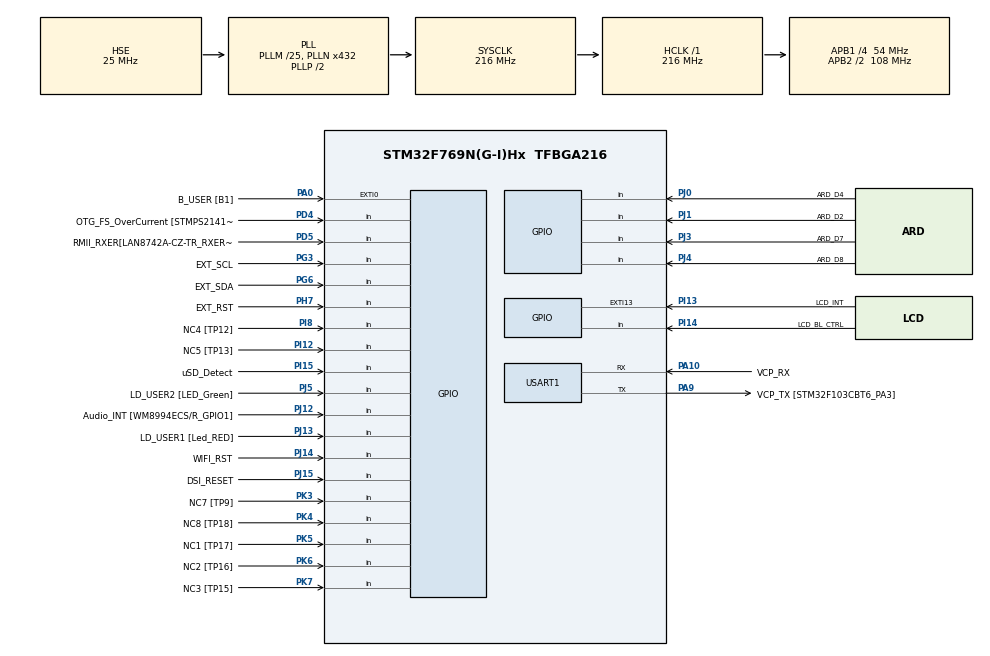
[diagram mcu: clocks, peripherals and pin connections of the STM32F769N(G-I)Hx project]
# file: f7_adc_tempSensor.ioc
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CORTEX_M7.Enable-Cortex_Memory_Protection_Unit_Region0_Settings=MPU_REGION_ENABLE
DSIHOST_CKN.GPIO_Label=DSI_CK_N
DSIHOST_CKN.Signal=DSIHOST_CKN
DSIHOST_CKP.GPIO_Label=DSI_CK_P
DSIHOST_CKP.Signal=DSIHOST_CKP
DSIHOST_D0N.GPIO_Label=DSI_D0_N
DSIHOST_D0N.Signal=DSIHOST_D0N
DSIHOST_D0P.GPIO_Label=DSI_D0_p
DSIHOST_D0P.Signal=DSIHOST_D0P
DSIHOST_D1N.GPIO_Label=DSI_D1_N
DSIHOST_D1N.Signal=DSIHOST_D1N
DSIHOST_D1P.GPIO_Label=DSI_D1_P
DSIHOST_D1P.Signal=DSIHOST_D1P
Mcu.Family=STM32F7
Mcu.Name=STM32F769N(G-I)Hx
Mcu.Package=TFBGA216
NVIC.PriorityGroup=NVIC_PRIORITYGROUP_4
PA0/WKUP.GPIO_Label=B_USER [B1]
PA0/WKUP.Signal=GPXTI0
PA1.GPIO_Label=RMII_REF_CLK [LAN8742A-CZ-TR_REFCLK0]
PA1.Signal=ETH_REF_CLK
PA10.GPIO_Label=VCP_RX 
PA10.Mode=Asynchronous
PA10.Signal=USART1_RX
PA11.GPIO_Label=SPI2_NSS
PA11.Signal=SPI2_NSS
PA12.GPIO_Label=ARD_D13/SCK
PA12.GPIO_Mode=GPIO_MODE_AF_PP
PA12.GPIO_PuPd=GPIO_NOPULL
PA12.GPIO_Speed=GPIO_SPEED_FREQ_LOW
PA12.Signal=SPI2_SCK
PA13.GPIO_Label=SWDIO
PA13.Signal=SYS_JTMS-SWDIO
PA14.GPIO_Label=SWCLK
PA14.Signal=SYS_JTCK-SWCLK
PA15.GPIO_Label=CEC
PA15.Signal=CEC
PA2.GPIO_Label=RMII_MDIO [LAN8742A-CZ-TR_MDIO]
PA2.Signal=ETH_MDIO
PA3.GPIO_Label=ULPI_D0 [USB3320C-EZK_D0]
PA3.Signal=USB_OTG_HS_ULPI_D0
PA4.GPIO_Label=ARD_A1
PA4.Signal=ADCx_IN4
PA5.GPIO_Label=ULPI_CLK [USB3320C-EZK_CLKOUT]
PA5.Signal=USB_OTG_HS_ULPI_CK
PA6.GPIO_Label=ARD_A0
PA6.Signal=ADCx_IN6
PA7.GPIO_Label=RMII_CRS_DV [LAN8742A-CZ-TR_CRS_DV]
PA7.Signal=ETH_CRS_DV
PA8.GPIO_Label=CEC_CLK [TP2]
PA8.Signal=RCC_MCO_1
PA9.GPIO_Label=VCP_TX [STM32F103CBT6_PA3]
PA9.GPIO_Mode=GPIO_MODE_AF_PP
PA9.GPIO_PuPd=GPIO_NOPULL
PA9.GPIO_Speed=GPIO_SPEED_FREQ_LOW
PA9.Mode=Asynchronous
PA9.Signal=USART1_TX
PB0.GPIO_Label=ULPI_D1 [USB3320C-EZK_D1]
PB0.Signal=USB_OTG_HS_ULPI_D1
PB1.GPIO_Label=ULPI_D2 [USB3320C-EZK_D2]
PB1.Signal=USB_OTG_HS_ULPI_D2
PB10.GPIO_Label=ULPI_D3 [USB3320C-EZK_D3]
PB10.Signal=USB_OTG_HS_ULPI_D3
PB11.GPIO_Label=ULPI_D4 [USB3320C-EZK_D4]
PB11.Signal=USB_OTG_HS_ULPI_D4
PB12.GPIO_Label=ULPI_D5 [USB3320C-EZK_D5]
PB12.Signal=USB_OTG_HS_ULPI_D5
PB13.GPIO_Label=ULPI_D6 [USB3320C-EZK_D6]
PB13.Signal=USB_OTG_HS_ULPI_D6
PB14.GPIO_Label=ARDUINO MISO/D12
PB14.GPIO_Mode=GPIO_MODE_AF_PP
PB14.GPIO_PuPd=GPIO_NOPULL
PB14.GPIO_Speed=GPIO_SPEED_FREQ_LOW
PB14.Signal=SPI2_MISO
PB15.GPIO_Label=ARDUINO MOSI/PWM/D11
PB15.GPIO_Mode=GPIO_MODE_AF_PP
PB15.GPIO_PuPd=GPIO_NOPULL
PB15.GPIO_Speed=GPIO_SPEED_FREQ_LOW
PB15.Signal=SPI2_MOSI
PB2.Signal=QUADSPI_CLK
PB3.GPIO_Label=uSD_D2
PB3.Signal=SDMMC2_D2
PB4.GPIO_Label=uSD_D3
PB4.Signal=SDMMC2_D3
PB5.GPIO_Label=ULPI_D7 [USB3320C-EZK_D7]
PB5.Signal=USB_OTG_HS_ULPI_D7
PB6.GPIO_Label=QSPI_NCS [N25Q128A13EF840E_S]
PB6.Signal=QUADSPI_BK1_NCS
PB7.GPIO_Label=AUDIO_SDA [WM8994ECS/R_SDA]
PB7.Signal=I2C4_SDA
PB8.GPIO_Label=ARDUINO SCL/D15
PB8.GPIO_Mode=GPIO_MODE_AF_OD
PB8.GPIO_PuPd=GPIO_NOPULL
PB8.GPIO_Speed=GPIO_SPEED_FREQ_LOW
PB8.Signal=I2C1_SCL
PB9.GPIO_Label=ARDUINO SDA/D14
PB9.GPIO_Mode=GPIO_MODE_AF_OD
PB9.GPIO_PuPd=GPIO_NOPULL
PB9.GPIO_Speed=GPIO_SPEED_FREQ_LOW
PB9.Signal=I2C1_SDA
PC0.GPIO_Label=ULPI_STP [USB3320C-EZK_STP]
PC0.Signal=USB_OTG_HS_ULPI_STP
PC1.GPIO_Label=RMII_MDC [LAN8742A-CZ-TR_MDC]
PC1.Signal=ETH_MDC
PC10.GPIO_Label=QSPI_D1 [MT25QL512ABB1EW9_DQ1]
PC10.Signal=QUADSPI_BK1_IO1
PC11.GPIO_Label=DFSDM_DATIN5 [TP100]
PC11.Signal=S_DATAIN5DFSDM1
PC12.GPIO_Label=WIFI_RX
PC12.Signal=UART5_TX
PC13.Signal=RTC_OUT_ALARM
PC14/OSC32_IN.GPIO_Label=RCC_OSC32_IN
PC14/OSC32_IN.Signal=RCC_OSC32_IN
PC15/OSC32_OUT.GPIO_Label=RCC_OSC32_OUT
PC15/OSC32_OUT.Signal=RCC_OSC32_OUT
PC2.GPIO_Label=ARD_A2
PC2.Signal=ADCx_IN12
PC3.GPIO_Label=DFSDM_DATIN1 [TP101]
PC3.Signal=S_DATAIN1DFSDM1
PC4.GPIO_Label=RMII_RXD0 [LAN8742A-CZ-TR_RXD0]
PC4.Signal=ETH_RXD0
PC5.GPIO_Label=RMII_RXD1 [LAN8742A-CZ-TR_RXD1]
PC5.Signal=ETH_RXD1
PC6.GPIO_Label=ARDUINO TX/D1
PC6.Signal=USART6_TX
PC7.GPIO_Label=ARD_D0/RX
PC7.Signal=USART6_RX
PC8.GPIO_Label=ARD_D5/PWM
PC8.Signal=S_TIM3_CH3
PC9.GPIO_Label=QSPI_D0 [N25Q128A13EF840E_DQ0]
PC9.Signal=QUADSPI_BK1_IO0
PD0.GPIO_Label=FMC_D2 [MT48LC4M32B2B5-6A_DQ2]
PD0.Signal=FMC_D2_DA2
PD1.GPIO_Label=FMC_D3 [MT48LC4M32B2B5-6A_DQ3]
PD1.Signal=FMC_D3_DA3
PD10.GPIO_Label=FMC_D15 [MT48LC4M32B2B5-6A_DQ15]
PD10.Signal=FMC_D15_DA15
PD11.GPIO_Label=SPDIF_TX [TP20]
PD11.Signal=SAI2_SD_A
PD12.GPIO_Label=AUDIO_SCL [WM8994ECS/R_SCLK]
PD12.Signal=I2C4_SCL
PD13.GPIO_Label=QSPI_D3 [N25Q128A13EF840E_DQ3]
PD13.Signal=QUADSPI_BK1_IO3
PD14.GPIO_Label=FMC_D0 [MT48LC4M32B2B5-6A_DQ0]
PD14.Signal=FMC_D0_DA0
PD15.GPIO_Label=FMC_D1 [MT48LC4M32B2B5-6A_DQ1]
PD15.Signal=FMC_D1_DA1
PD2.GPIO_Label=WIFI_TX
PD2.Signal=UART5_RX
PD3.GPIO_Label=DFSDM_CKOUT [TP102]
PD3.Signal=S_CKOUTDFSDM1
PD4.GPIO_Label=OTG_FS_OverCurrent [STMPS2141STR_Fault]
PD4.Signal=GPIO_Input
PD5.GPIO_Label=RMII_RXER[LAN8742A-CZ-TR_RXERR]
PD5.Signal=GPIO_Input
PD6.GPIO_Label=uSD_CLK
PD6.Signal=SDMMC2_CK
PD7.GPIO_Label=uSD_CMD
PD7.Signal=SDMMC2_CMD
PD8.GPIO_Label=FMC_D13 [MT48LC4M32B2B5-6A_DQ13]
PD8.Signal=FMC_D13_DA13
PD9.GPIO_Label=FMC_D14 [MT48LC4M32B2B5-6A_DQ14]
PD9.Signal=FMC_D14_DA14
PE0.GPIO_Label=FMC_NBL0 [MT48LC4M32B2B5-6A_DQM0]
PE0.Signal=FMC_NBL0
PE1.GPIO_Label=FMC_NBL1 [MT48LC4M32B2B5-6A_DQM1]
PE1.Signal=FMC_NBL1
PE10.GPIO_Label=FMC_D7 [MT48LC4M32B2B5-6A_DQ7]
PE10.Signal=FMC_D7_DA7
PE11.GPIO_Label=FMC_D8 [MT48LC4M32B2B5-6A_DQ8]
PE11.Signal=FMC_D8_DA8
PE12.GPIO_Label=FMC_D9 [MT48LC4M32B2B5-6A_DQ9]
PE12.Signal=FMC_D9_DA9
PE13.GPIO_Label=FMC_D10 [MT48LC4M32B2B5-6A_DQ10]
PE13.Signal=FMC_D10_DA10
PE14.GPIO_Label=FMC_D11 [MT48LC4M32B2B5-6A_DQ11]
PE14.Signal=FMC_D11_DA11
PE15.GPIO_Label=FMC_D12 [MT48LC4M32B2B5-6A_DQ12]
PE15.Signal=FMC_D12_DA12
PE2.GPIO_Label=QSPI_D2 [N25Q128A13EF840E_DQ2]
PE2.Signal=QUADSPI_BK1_IO2
PE3.GPIO_Label=SAI1_SDB [WM8994ECS/R_ADCDAT1]
PE3.Signal=SAI1_SD_B
PE4.GPIO_Label=SAI1_FSA [WM8994ECS/R_LRCLK1]
PE4.Signal=SAI1_FS_A
PE5.GPIO_Label=SAI1_SCKA [WM8994ECS/R_BCLK1]
PE5.Signal=SAI1_SCK_A
PE6.GPIO_Label=SAI1_SDA [WM8994ECS/R_DACDAT1]
PE6.Signal=SAI1_SD_A
PE7.GPIO_Label=FMC_D4 [MT48LC4M32B2B5-6A_DQ4]
PE7.Signal=FMC_D4_DA4
PE8.GPIO_Label=FMC_D5 [MT48LC4M32B2B5-6A_DQ5]
PE8.Signal=FMC_D5_DA5
PE9.GPIO_Label=FMC_D6 [MT48LC4M32B2B5-6A_DQ6]
PE9.Signal=FMC_D6_DA6
PF0.GPIO_Label=FMC_A0 [MT48LC4M32B2B5-6A_A0]
PF0.Signal=FMC_A0
PF1.GPIO_Label=FMC_A1 [MT48LC4M32B2B5-6A_A1]
PF1.Signal=FMC_A1
PF10.GPIO_Label=ARDUINO A1
PF10.GPIO_Mode=GPIO_MODE_ANALOG
PF10.GPIO_PuPd=GPIO_NOPULL
PF10.Signal=ADC3_IN8
PF11.GPIO_Label=FMC_SDNRAS [MT48LC4M32B2B5-6A_RAS]
PF11.Signal=FMC_SDNRAS
PF12.GPIO_Label=FMC_A6 [MT48LC4M32B2B5-6A_A6]
PF12.Signal=FMC_A6
PF13.GPIO_Label=FMC_A7 [MT48LC4M32B2B5-6A_A7]
PF13.Signal=FMC_A7
PF14.GPIO_Label=FMC_A8 [MT48LC4M32B2B5-6A_A8]
PF14.Signal=FMC_A8
PF15.GPIO_Label=FMC_A9 [MT48LC4M32B2B5-6A_A9]
PF15.Signal=FMC_A9
PF2.GPIO_Label=FMC_A2 [MT48LC4M32B2B5-6A_A2]
PF2.Signal=FMC_A2
PF3.GPIO_Label=FMC_A3 [MT48LC4M32B2B5-6A_A3]
PF3.Signal=FMC_A3
PF4.GPIO_Label=FMC_A4 [MT48LC4M32B2B5-6A_A4]
PF4.Signal=FMC_A4
PF5.GPIO_Label=FMC_A5 [MT48LC4M32B2B5-6A_A5]
PF5.Signal=FMC_A5
PF6.GPIO_Label=ARD_D3/PWM
PF6.Signal=S_TIM10_CH1
PF7.GPIO_Label=ARD_D6/PWM
PF7.Signal=S_TIM11_CH1
PF8.GPIO_Label=ARDUINO A3
PF8.GPIO_Mode=GPIO_MODE_ANALOG
PF8.GPIO_PuPd=GPIO_NOPULL
PF8.Signal=ADC3_IN6
PF9.GPIO_Label=ARDUINO A2
PF9.GPIO_Mode=GPIO_MODE_ANALOG
PF9.GPIO_PuPd=GPIO_NOPULL
PF9.Signal=ADC3_IN7
PG0.GPIO_Label=FMC_A10 [MT48LC4M32B2B5-6A_A10]
PG0.Signal=FMC_A10
PG1.GPIO_Label=FMC_A11 [MT48LC4M32B2B5-6A_A11]
PG1.Signal=FMC_A11
PG10.GPIO_Label=uSD_D1
PG10.Signal=SDMMC2_D1
PG11.GPIO_Label=RMII_TX_EN [LAN8742A-CZ-TR_TXEN]
PG11.Signal=ETH_TX_EN
PG12.GPIO_Label=SPDIF_RX [74LVC1G04SE_4]
PG12.Signal=SPDIFRX_IN1
PG13.GPIO_Label=RMII_TXD0 [LAN8742A-CZ-TR_TXD0]
PG13.Signal=ETH_TXD0
PG14.GPIO_Label=RMII_TXD1 [LAN8742A-CZ-TR_TXD1]
PG14.Signal=ETH_TXD1
PG15.GPIO_Label=FMC_SDNCAS [MT48LC4M32B2B5-6A_CAS]
PG15.Signal=FMC_SDNCAS
PG2.GPIO_Label=FMC_A12
PG2.Signal=FMC_A12
PG3.GPIO_Label=EXT_SCL
PG3.Signal=GPIO_Input
PG4.GPIO_Label=FMC_BA0 [MT48LC4M32B2B5-6A_BA0]
PG4.Signal=FMC_A14_BA0
PG5.GPIO_Label=FMC_BA1 [MT48LC4M32B2B5-6A_BA1]
PG5.Signal=FMC_A15_BA1
PG6.GPIO_Label=EXT_SDA
PG6.Signal=GPIO_Input
PG7.GPIO_Label=SAI1_MCLKA [WM8994ECS/R_MCLK1]
PG7.Signal=SAI1_MCLK_A
PG8.GPIO_Label=FMC_SDCLK [MT48LC4M32B2B5-6A_CLK]
PG8.Signal=FMC_SDCLK
PG9.GPIO_Label=uSD_D0
PG9.Signal=SDMMC2_D0
PH0/OSC_IN.GPIO_Label=OSC_25M [NZ2520SB-25.00M_OUT]
PH0/OSC_IN.Mode=HSE-External-Oscillator
PH0/OSC_IN.Signal=RCC_OSC_IN
PH1/OSC_OUT.Mode=HSE-External-Oscillator
PH1/OSC_OUT.Signal=RCC_OSC_OUT
PH10.GPIO_Label=FMC_D18 [MT48LC4M32B2B5-6A_DQ18]
PH10.Signal=FMC_D18
PH11.GPIO_Label=FMC_D19 [MT48LC4M32B2B5-6A_DQ19]
PH11.Signal=FMC_D19
PH12.GPIO_Label=D20
PH12.Signal=FMC_D20
PH13.GPIO_Label=D21
PH13.Signal=FMC_D21
PH14.GPIO_Label=D22
PH14.Signal=FMC_D22
PH15.GPIO_Label=D23
PH15.Signal=FMC_D23
PH2.GPIO_Label=FMC_SDCKE0 [MT48LC4M32B2B5-6A_CKE]
PH2.Signal=FMC_SDCKE0
PH3.GPIO_Label=FMC_SDNE0 [MT48LC4M32B2B5-6A_CS]
PH3.Signal=FMC_SDNE0
PH4.GPIO_Label=ULPI_NXT [USB3320C-EZK_NXT]
PH4.Signal=USB_OTG_HS_ULPI_NXT
PH5.GPIO_Label=FMC_SDNME [MT48LC4M32B2B5-6A_WE]
PH5.Signal=FMC_SDNWE
PH6.GPIO_Label=ARDUINO PWM/D6
PH6.Signal=S_TIM12_CH1
PH7.GPIO_Label=EXT_RST
PH7.Signal=GPIO_Input
PH8.GPIO_Label=FMC_D16 [MT48LC4M32B2B5-6A_DQ16]
PH8.Signal=FMC_D16
PH9.GPIO_Label=FMC_D\!7 [MT48LC4M32B2B5-6A_DQ17]
PH9.Signal=FMC_D17
PI0.GPIO_Label=D24
PI0.Signal=FMC_D24
PI1.GPIO_Label=D25
PI1.Signal=FMC_D25
PI10.GPIO_Label=D31
PI10.Signal=FMC_D31
PI11.GPIO_Label=ULPI_DIR [USB3320C-EZK_DIR]
PI11.Signal=USB_OTG_HS_ULPI_DIR
PI12.GPIO_Label=NC5 [TP13]
PI12.Signal=GPIO_Input
PI13.GPIO_Label=LCD_INT
PI13.GPIO_ModeDefaultEXTI=GPIO_MODE_EVT_RISING
PI13.Signal=GPXTI13
PI14.GPIO_Label=LCD_BL_CTRL
PI14.Signal=GPIO_Input
PI15.GPIO_Label=uSD_Detect
PI15.Signal=GPIO_Input
PI2.GPIO_Label=D26
PI2.Signal=FMC_D26
PI3.GPIO_Label=D27
PI3.Signal=FMC_D27
PI4.GPIO_Label=FMC_NBL2 [MT48LC4M32B2B5-6A_DQM2]
PI4.Signal=FMC_NBL2
PI5.GPIO_Label=FMC_NBL3 [MT48LC4M32B2B5-6A_DQM3]
PI5.Signal=FMC_NBL3
PI6.GPIO_Label=D28
PI6.Signal=FMC_D28
PI7.GPIO_Label=D29
PI7.Signal=FMC_D29
PI8.GPIO_Label=NC4 [TP12]
PI8.Signal=GPIO_Input
PI9.GPIO_Label=D30
PI9.Signal=FMC_D30
PJ0.GPIO_Label=ARD_D4
PJ0.Signal=GPIO_Input
PJ1.GPIO_Label=ARD_D2
PJ1.Signal=GPIO_Input
PJ12.GPIO_Label=Audio_INT [WM8994ECS/R_GPIO1]
PJ12.Signal=GPIO_Input
PJ13.GPIO_Label=LD_USER1 [Led_RED]
PJ13.Signal=GPIO_Input
PJ14.GPIO_Label=WIFI_RST
PJ14.Signal=GPIO_Input
PJ15.GPIO_Label=DSI_RESET
PJ15.Signal=GPIO_Input
PJ2.GPIO_Label=DSIHOST_TE
PJ2.Signal=DSIHOST_TE
PJ3.GPIO_Label=ARD_D7
PJ3.Signal=GPIO_Input
PJ4.GPIO_Label=ARD_D8
PJ4.Signal=GPIO_Input
PJ5.GPIO_Label=LD_USER2 [LED_Green]
PJ5.Signal=GPIO_Input
PK3.GPIO_Label=NC7 [TP9]
PK3.Signal=GPIO_Input
PK4.GPIO_Label=NC8 [TP18]
PK4.Signal=GPIO_Input
PK5.GPIO_Label=NC1 [TP17]
PK5.Signal=GPIO_Input
PK6.GPIO_Label=NC2 [TP16]
PK6.Signal=GPIO_Input
PK7.GPIO_Label=NC3 [TP15]
PK7.Signal=GPIO_Input
ProjectManager.HeapSize=0x200
ProjectManager.StackSize=0x400
ProjectManager.TargetToolchain=SW4STM32
RCC.AHBFreq_Value=216000000
RCC.APB1CLKDivider=RCC_HCLK_DIV4
RCC.APB1Freq_Value=54000000
RCC.APB1TimFreq_Value=108000000
RCC.APB2CLKDivider=RCC_HCLK_DIV2
RCC.APB2Freq_Value=108000000
RCC.APB2TimFreq_Value=216000000
RCC.CortexFreq_Value=216000000
RCC.HCLKFreq_Value=216000000
RCC.HSE_VALUE=25000000
RCC.HSI_VALUE=16000000
RCC.LSE_VALUE=32768
RCC.PLLM=25
RCC.PLLN=432
RCC.PLLQ=4
RCC.PLLSAIQ=3
RCC.PLLSourceVirtual=RCC_PLLSOURCE_HSE
RCC.SYSCLKFreq_VALUE=216000000
RCC.SYSCLKSource=RCC_SYSCLKSOURCE_PLLCLK
RCC.USBFreq_Value=108000000
RCC.VCOOutputFreq_Value=432000000
SH.ADCx_IN12.0=ADC1_IN12
SH.ADCx_IN4.0=ADC1_IN4
SH.ADCx_IN6.0=ADC1_IN6
SH.FMC_A0.0=FMC_A0
SH.FMC_A1.0=FMC_A1
SH.FMC_A10.0=FMC_A10
SH.FMC_A11.0=FMC_A11
SH.FMC_A12.0=FMC_A12
SH.FMC_A14_BA0.0=FMC_BA0
SH.FMC_A15_BA1.0=FMC_BA1
SH.FMC_A2.0=FMC_A2
SH.FMC_A3.0=FMC_A3
SH.FMC_A4.0=FMC_A4
SH.FMC_A5.0=FMC_A5
SH.FMC_A6.0=FMC_A6
SH.FMC_A7.0=FMC_A7
SH.FMC_A8.0=FMC_A8
SH.FMC_A9.0=FMC_A9
SH.FMC_D0_DA0.0=FMC_D0
SH.FMC_D10_DA10.0=FMC_D10
SH.FMC_D11_DA11.0=FMC_D11
SH.FMC_D12_DA12.0=FMC_D12
SH.FMC_D13_DA13.0=FMC_D13
SH.FMC_D14_DA14.0=FMC_D14
SH.FMC_D15_DA15.0=FMC_D15
SH.FMC_D16.0=FMC_D16
SH.FMC_D17.0=FMC_D17
SH.FMC_D18.0=FMC_D18
SH.FMC_D19.0=FMC_D19
SH.FMC_D1_DA1.0=FMC_D1
SH.FMC_D20.0=FMC_D20
SH.FMC_D21.0=FMC_D21
SH.FMC_D22.0=FMC_D22
SH.FMC_D23.0=FMC_D23
SH.FMC_D24.0=FMC_D24
SH.FMC_D25.0=FMC_D25
SH.FMC_D26.0=FMC_D26
SH.FMC_D27.0=FMC_D27
SH.FMC_D28.0=FMC_D28
SH.FMC_D29.0=FMC_D29
SH.FMC_D2_DA2.0=FMC_D2
SH.FMC_D30.0=FMC_D30
SH.FMC_D31.0=FMC_D31
SH.FMC_D3_DA3.0=FMC_D3
SH.FMC_D4_DA4.0=FMC_D4
SH.FMC_D5_DA5.0=FMC_D5
SH.FMC_D6_DA6.0=FMC_D6
SH.FMC_D7_DA7.0=FMC_D7
SH.FMC_D8_DA8.0=FMC_D8
SH.FMC_D9_DA9.0=FMC_D9
SH.FMC_NBL0.0=FMC_NBL0
SH.FMC_NBL1.0=FMC_NBL1
SH.FMC_NBL2.0=FMC_NBL2
SH.FMC_NBL3.0=FMC_NBL3
SH.FMC_SDCLK.0=FMC_SDCLK
SH.FMC_SDNCAS.0=FMC_SDNCAS
SH.FMC_SDNRAS.0=FMC_SDNRAS
SH.FMC_SDNWE.0=FMC_SDNWE
SH.S_CKOUTDFSDM1.0=DFSDM1_CKOUT
SH.S_DATAIN1DFSDM1.0=DFSDM1_DATIN1
SH.S_DATAIN5DFSDM1.0=DFSDM1_DATIN5
SH.S_TIM10_CH1.0=TIM10_CH1
SH.S_TIM11_CH1.0=TIM11_CH1
SH.S_TIM12_CH1.0=TIM12_CH1
SH.S_TIM3_CH3.0=TIM3_CH3
USART1.VirtualMode-Asynchronous=VM_ASYNC
USART1.WordLength=WORDLENGTH_8B
board=STM32F769I-DISCO

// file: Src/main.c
/**
  ******************************************************************************
  * File Name          : main.c
  * Description        : Main program body
  ******************************************************************************
  ** This notice applies to any and all portions of this file
  * that are not between comment pairs USER CODE BEGIN and
  * USER CODE END. Other portions of this file, whether
  * inserted by the user or by software development tools
  * are owned by their respective copyright owners.
  *
  * COPYRIGHT(c) 2017 STMicroelectronics
  *
  * Redistribution and use in source and binary forms, with or without modification,
  * are permitted provided that the following conditions are met:
  *   1. Redistributions of source code must retain the above copyright notice,
  *      this list of conditions and the following disclaimer.
  *   2. Redistributions in binary form must reproduce the above copyright notice,
  *      this list of conditions and the following disclaimer in the documentation
  *      and/or other materials provided with the distribution.
  *   3. Neither the name of STMicroelectronics nor the names of its contributors
  *      may be used to endorse or promote products derived from this software
  *      without specific prior written permission.
  *
  * THIS SOFTWARE IS PROVIDED BY THE COPYRIGHT HOLDERS AND CONTRIBUTORS "AS IS"
  * AND ANY EXPRESS OR IMPLIED WARRANTIES, INCLUDING, BUT NOT LIMITED TO, THE
  * IMPLIED WARRANTIES OF MERCHANTABILITY AND FITNESS FOR A PARTICULAR PURPOSE ARE
  * DISCLAIMED. IN NO EVENT SHALL THE COPYRIGHT HOLDER OR CONTRIBUTORS BE LIABLE
  * FOR ANY DIRECT, INDIRECT, INCIDENTAL, SPECIAL, EXEMPLARY, OR CONSEQUENTIAL
  * DAMAGES (INCLUDING, BUT NOT LIMITED TO, PROCUREMENT OF SUBSTITUTE GOODS OR
  * SERVICES; LOSS OF USE, DATA, OR PROFITS; OR BUSINESS INTERRUPTION) HOWEVER
  * CAUSED AND ON ANY THEORY OF LIABILITY, WHETHER IN CONTRACT, STRICT LIABILITY,
  * OR TORT (INCLUDING NEGLIGENCE OR OTHERWISE) ARISING IN ANY WAY OUT OF THE USE
  * OF THIS SOFTWARE, EVEN IF ADVISED OF THE POSSIBILITY OF SUCH DAMAGE.
  *
  ******************************************************************************
  */
#include "main.h"
#include "stm32f7xx_hal.h"
#include "usart.h"
#include "gpio.h"

/* USER CODE BEGIN PV */
/* Private variables ---------------------------------------------------------*/

/* USER CODE END PV */

void SystemClock_Config(void);

/* USER CODE BEGIN PFP */
/* Private function prototypes -----------------------------------------------*/
#ifdef __GNUC__
#define PUTCHAR_PROTOTYPE int __io_putchar(int ch)
#else
#define PUTCHAR_PROTOTYPE int fputc(int ch, FILE *f)
#endif /* __GNUC__ */
/* USER CODE END PFP */

int main(void)
{

  /* MCU Configuration----------------------------------------------------------*/

  /* Reset of all peripherals, Initializes the Flash interface and the Systick. */
  HAL_Init();

  /* Configure the system clock */
  SystemClock_Config();

  /* Initialize all configured peripherals */
  MX_GPIO_Init();
  MX_USART1_UART_Init();

  /* USER CODE BEGIN 2 */
  printf("UART One of STM32F769I Discovery\r\n");
  printf("System Core Clock: %ld\r\n", SystemCoreClock);
  /* Configure ADC */
  /* Note: This function configures the ADC but does not enable it.           */
  /*       To enable it, use function "Activate_ADC()".                       */
  /*       This is intended to optimize power consumption:                    */
  /*       1. ADC configuration can be done once at the beginning             */
  /*          (ADC disabled, minimal power consumption)                       */
  /*       2. ADC enable (higher power consumption) can be done just before   */
  /*          ADC conversions needed.                                         */
  /*          Then, possible to perform successive "Activate_ADC()",          */
  /*          "Deactivate_ADC()", ..., without having to set again            */
  /*          ADC configuration.                                              */
  Configure_ADC();

  /* Activate ADC */
  /* Perform ADC activation procedure to make it ready to convert. */
  Activate_ADC();
  printf("ADC Configured and Activated\r\n");

  /* USER CODE END 2 */

  /* Infinite loop */
  while (1)
  {

  /* USER CODE BEGIN 3 */
	  HAL_Delay(1000);

	    uint16_t myTemp = F7_ReadTemp();
	    printf("%ld degress F\r\n", (uint32_t)(myTemp*1.8+32));
  }
  /* USER CODE END 3 */

}

/** System Clock Configuration
*/
void SystemClock_Config(void)
{

  RCC_OscInitTypeDef RCC_OscInitStruct;
  RCC_ClkInitTypeDef RCC_ClkInitStruct;
  RCC_PeriphCLKInitTypeDef PeriphClkInitStruct;

    /**Configure the main internal regulator output voltage
    */
  __HAL_RCC_PWR_CLK_ENABLE();

  __HAL_PWR_VOLTAGESCALING_CONFIG(PWR_REGULATOR_VOLTAGE_SCALE1);

    /**Initializes the CPU, AHB and APB busses clocks
    */
  RCC_OscInitStruct.OscillatorType = RCC_OSCILLATORTYPE_HSE;
  RCC_OscInitStruct.HSEState = RCC_HSE_ON;
  RCC_OscInitStruct.PLL.PLLState = RCC_PLL_ON;
  RCC_OscInitStruct.PLL.PLLSource = RCC_PLLSOURCE_HSE;
  RCC_OscInitStruct.PLL.PLLM = 25;
  RCC_OscInitStruct.PLL.PLLN = 432;
  RCC_OscInitStruct.PLL.PLLP = RCC_PLLP_DIV2;
  RCC_OscInitStruct.PLL.PLLQ = 4;
  if (HAL_RCC_OscConfig(&RCC_OscInitStruct) != HAL_OK)
  {
    _Error_Handler(__FILE__, __LINE__);
  }

    /**Activate the Over-Drive mode
    */
  if (HAL_PWREx_EnableOverDrive() != HAL_OK)
  {
    _Error_Handler(__FILE__, __LINE__);
  }

    /**Initializes the CPU, AHB and APB busses clocks
    */
  RCC_ClkInitStruct.ClockType = RCC_CLOCKTYPE_HCLK|RCC_CLOCKTYPE_SYSCLK
                              |RCC_CLOCKTYPE_PCLK1|RCC_CLOCKTYPE_PCLK2;
  RCC_ClkInitStruct.SYSCLKSource = RCC_SYSCLKSOURCE_PLLCLK;
  RCC_ClkInitStruct.AHBCLKDivider = RCC_SYSCLK_DIV1;
  RCC_ClkInitStruct.APB1CLKDivider = RCC_HCLK_DIV4;
  RCC_ClkInitStruct.APB2CLKDivider = RCC_HCLK_DIV2;

  if (HAL_RCC_ClockConfig(&RCC_ClkInitStruct, FLASH_LATENCY_7) != HAL_OK)
  {
    _Error_Handler(__FILE__, __LINE__);
  }

  PeriphClkInitStruct.PeriphClockSelection = RCC_PERIPHCLK_USART1;
  PeriphClkInitStruct.Usart1ClockSelection = RCC_USART1CLKSOURCE_PCLK2;
  if (HAL_RCCEx_PeriphCLKConfig(&PeriphClkInitStruct) != HAL_OK)
  {
    _Error_Handler(__FILE__, __LINE__);
  }

    /**Configure the Systick interrupt time
    */
  HAL_SYSTICK_Config(HAL_RCC_GetHCLKFreq()/1000);

    /**Configure the Systick
    */
  HAL_SYSTICK_CLKSourceConfig(SYSTICK_CLKSOURCE_HCLK);

  /* SysTick_IRQn interrupt configuration */
  HAL_NVIC_SetPriority(SysTick_IRQn, 0, 0);
}

/* USER CODE BEGIN 4 */
/**
  * @brief  Retargets the C library printf function to the USART.
  * @param  None
  * @retval None
  */
PUTCHAR_PROTOTYPE
{
  /* Place your implementation of fputc here */
  /* e.g. write a character to the USART2 and Loop until the end of transmission */
  HAL_UART_Transmit(&huart1, (uint8_t *)&ch, 1, 0xFFFF);

  return ch;
}

/* USER CODE END 4 */

void _Error_Handler(char * file, int line)
{
  /* USER CODE BEGIN Error_Handler_Debug */
  /* User can add his own implementation to report the HAL error return state */
	printf("Oops! file %s line %d\r\n", file, line);
  while(1)
  {
  }
  /* USER CODE END Error_Handler_Debug */
}

/************************ (C) COPYRIGHT STMicroelectronics *****END OF FILE****/
